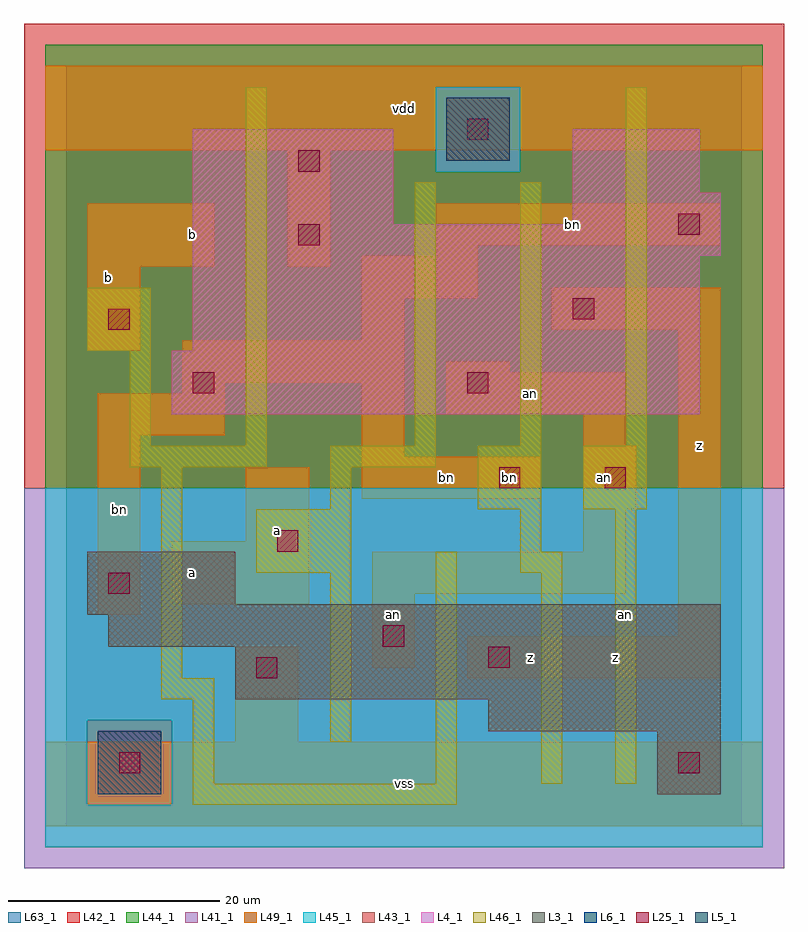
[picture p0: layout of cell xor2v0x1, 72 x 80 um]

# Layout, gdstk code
import gdstk
lib = gdstk.Library(unit=1e-6, precision=1e-09)
def R(c, l, rs):  # rectangles x0, y0, x1, y1
    for r in rs: c.add(gdstk.rectangle(r[:2], r[2:], *l))
L3_1 = (3, 1)
L4_1 = (4, 1)
L5_1 = (5, 1)
L6_1 = (6, 1)
L25_1 = (25, 1)
L41_1 = (41, 1)
L42_1 = (42, 1)
L43_1 = (43, 1)
L44_1 = (44, 1)
L45_1 = (45, 1)
L46_1 = (46, 1)
L49_1 = (49, 1)
L63_1 = (63, 1)

xor2v0x1 = lib.new_cell('xor2v0x1')
R(xor2v0x1, L3_1, [(56,3,62,9), (40,9,62,12), (16,12,62,17), (4,17,62,20), (2,20,62,21), (2,21,16,26)])
R(xor2v0x1, L4_1, [(10,39,60,45), (12,45,60,54), (12,54,62,57), (12,57,31,66), (48,57,62,60), (48,60,60,66)])
R(xor2v0x1, L5_1, [(36,63,42,69)])
R(xor2v0x1, L6_1, [(3,3,9,9), (3,3,9,9)])
R(xor2v0x1, L25_1, [(5,5,7,7), (58,5,60,7), (18,14,20,16), (40,15,42,17), (30,17,32,19), (4,22,6,24), (20,26,22,28), (41,32,43,34), (51,32,53,34), (12,41,14,43), (38,41,40,43), (4,47,6,49), (48,48,50,50), (22,55,24,57), (58,56,60,58), (22,62,24,64), (38,65,40,67)])
R(xor2v0x1, L41_1, [(-4,-4,68,32)])
R(xor2v0x1, L42_1, [(-4,32,68,76)])
R(xor2v0x1, L43_1, [(3,3,9,9), (56,3,62,9), (40,9,62,12), (16,12,62,17), (4,17,62,20), (2,20,62,21), (2,21,16,26), (10,39,60,45), (12,45,60,54), (12,54,62,57), (12,57,31,66), (48,57,62,60), (48,60,60,66), (36,63,42,69)])
R(xor2v0x1, L44_1, [(2,2,10,10), (-2,32,66,62), (-2,62,35,70), (43,62,66,70), (-2,70,66,74)])
R(xor2v0x1, L45_1, [(-2,-2,66,2), (-2,2,2,10), (10,2,66,10), (-2,10,66,32), (35,62,43,70)])
R(xor2v0x1, L46_1, [(12,2,37,4), (12,4,14,12), (35,4,37,26), (45,4,47,24), (52,4,54,30), (25,8,27,24), (9,12,14,14), (9,14,11,34), (18,24,27,30), (43,24,47,26), (43,26,45,30), (25,30,27,34), (39,30,45,36), (49,30,55,36), (6,34,19,36), (25,34,35,36), (6,36,8,45), (17,36,19,70), (33,36,35,61), (43,36,45,61), (53,36,55,70), (2,45,8,51)])
R(xor2v0x1, L49_1, [(-2,0,66,8), (16,8,22,17), (38,14,62,18), (29,15,33,22), (58,18,62,47), (3,20,7,37), (10,21,23,27), (29,22,53,26), (49,26,53,30), (17,27,23,34), (49,30,54,36), (28,31,45,35), (28,35,32,42), (49,36,53,39), (3,37,15,41), (36,39,53,43), (11,41,15,42), (11,42,32,46), (36,43,42,44), (2,45,7,53), (28,46,32,50), (46,47,62,51), (28,50,39,54), (2,53,14,59), (21,53,25,64), (35,54,39,55), (35,55,62,59), (-2,64,66,72)])
R(xor2v0x1, L63_1, [(0,0,64,72)])
xor2v0x1.add(gdstk.Label('bn', (42,33), layer=49, texttype=1))
xor2v0x1.add(gdstk.Label('an', (53,20), layer=46, texttype=1))
xor2v0x1.add(gdstk.Label('a', (12,24), layer=49, texttype=1))
xor2v0x1.add(gdstk.Label('bn', (5,30), layer=49, texttype=1))
xor2v0x1.add(gdstk.Label('b', (4,52), layer=49, texttype=1))
xor2v0x1.add(gdstk.Label('b', (12,56), layer=49, texttype=1))
xor2v0x1.add(gdstk.Label('a', (20,28), layer=49, texttype=1))
xor2v0x1.add(gdstk.Label('vss', (32,4), layer=49, texttype=1))
xor2v0x1.add(gdstk.Label('z', (44,16), layer=49, texttype=1))
xor2v0x1.add(gdstk.Label('an', (31,20), layer=49, texttype=1))
xor2v0x1.add(gdstk.Label('bn', (36,33), layer=49, texttype=1))
xor2v0x1.add(gdstk.Label('vdd', (32,68), layer=49, texttype=1))
xor2v0x1.add(gdstk.Label('z', (52,16), layer=49, texttype=1))
xor2v0x1.add(gdstk.Label('z', (60,36), layer=49, texttype=1))
xor2v0x1.add(gdstk.Label('an', (51,33), layer=49, texttype=1))
xor2v0x1.add(gdstk.Label('an', (44,41), layer=49, texttype=1))
xor2v0x1.add(gdstk.Label('bn', (48,57), layer=49, texttype=1))

lib.write_gds('xor2v0x1.gds')
